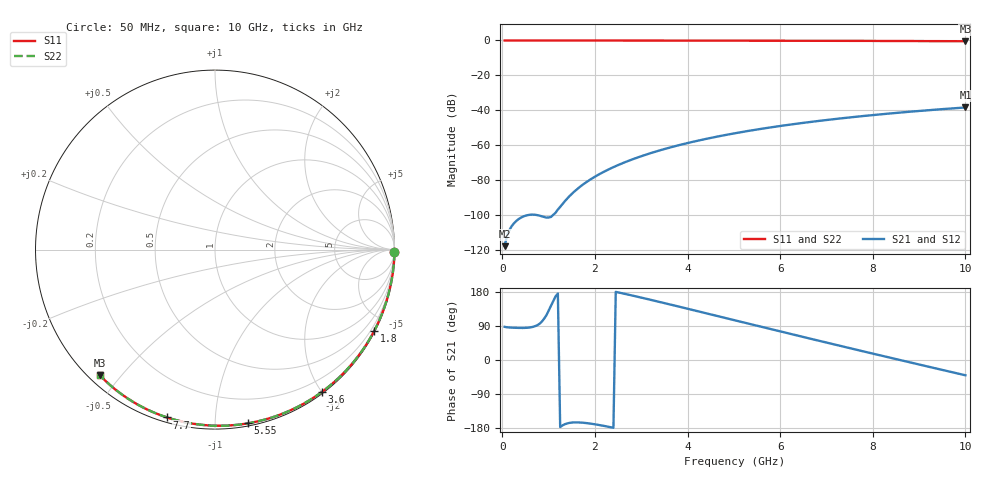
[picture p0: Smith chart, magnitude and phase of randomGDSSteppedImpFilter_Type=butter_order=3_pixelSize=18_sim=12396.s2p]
! freq	dB(S11)	phase(S11)	dB(S12)	phase(S12)
!  dB(S21)	phase(S21)	dB(S22)	phase(S22)
!S-par simulation data
#  GHz  S  DB  R 50
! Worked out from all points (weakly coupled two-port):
!   200 points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, 50 MHz to 10 GHz, reference 50 ohm
!   highest |S21| = -38.33 dB at 10 GHz (marker M1); lowest = -117.7 dB at 50 MHz (marker M2)
!   lowest |S11| = -0.4 dB at 10 GHz (marker M3), VSWR 38.75, Z = 1.54 - j22 ohm
!   |S11| at or under -10 dB: nowhere
!   |S22| runs from -0.4 to 0.0 dB; largest |S21 - S12| = 0
!   S11 on the Smith chart (normalised r, x): 50 MHz: open; 1.8 GHz: 0.04, -4.14; 3.6 GHz: 0.02, -2.00; 5.55 GHz: 0.02, -1.21; 7.7 GHz: 0.02, -0.75; 10 GHz: 0.03, -0.44
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0.05  -0.00 -0.8  -117.66 87.5  -117.66 87.5  -0.00 -0.8
0.9  -0.02 -13.7  -101.00 108.5  -101.00 108.5  -0.02 -13.7
1.75  -0.03 -26.4  -82.25 -165.6  -82.25 -165.6  -0.03 -26.4
1.8  -0.03 -27.2  -81.31 -166.2  -81.31 -166.2  -0.03 -27.2
1.85  -0.04 -27.9  -80.41 -166.9  -80.41 -166.9  -0.04 -27.9
1.9  -0.04 -28.6  -79.55 -167.8  -79.55 -167.8  -0.04 -28.6
2.05  -0.04 -30.9  -77.16 -170.7  -77.16 -170.7  -0.04 -30.9
2.25  -0.04 -33.8  -74.34 -175.2  -74.34 -175.2  -0.04 -33.8
2.45  -0.05 -36.7  -71.85 179.8  -71.85 179.8  -0.05 -36.7
2.65  -0.05 -39.6  -69.62 174.5  -69.62 174.5  -0.05 -39.6
3  -0.06 -44.6  -66.21 164.7  -66.21 164.7  -0.06 -44.6
3.4  -0.07 -50.3  -62.87 153.1  -62.87 153.1  -0.07 -50.3
3.6  -0.07 -53.1  -61.38 147.2  -61.38 147.2  -0.07 -53.1
4.3  -0.09 -62.8  -56.87 126.4  -56.87 126.4  -0.09 -62.8
5.05  -0.11 -72.8  -52.95 103.9  -52.95 103.9  -0.11 -72.8
5.55  -0.13 -79.3  -50.72 89.0  -50.72 89.0  -0.13 -79.3
6.1  -0.15 -86.3  -48.55 72.6  -48.55 72.6  -0.15 -86.3
6.7  -0.18 -93.8  -46.45 54.8  -46.45 54.8  -0.18 -93.8
7.7  -0.24 -105.9  -43.47 25.5  -43.47 25.5  -0.24 -105.9
8.35  -0.29 -113.6  -41.81 6.8  -41.81 6.8  -0.29 -113.6
9.15  -0.36 -122.8  -40.00 -16.1  -40.00 -16.1  -0.36 -122.8
10  -0.45 -132.6  -38.33 -40.3  -38.33 -40.3  -0.45 -132.5
